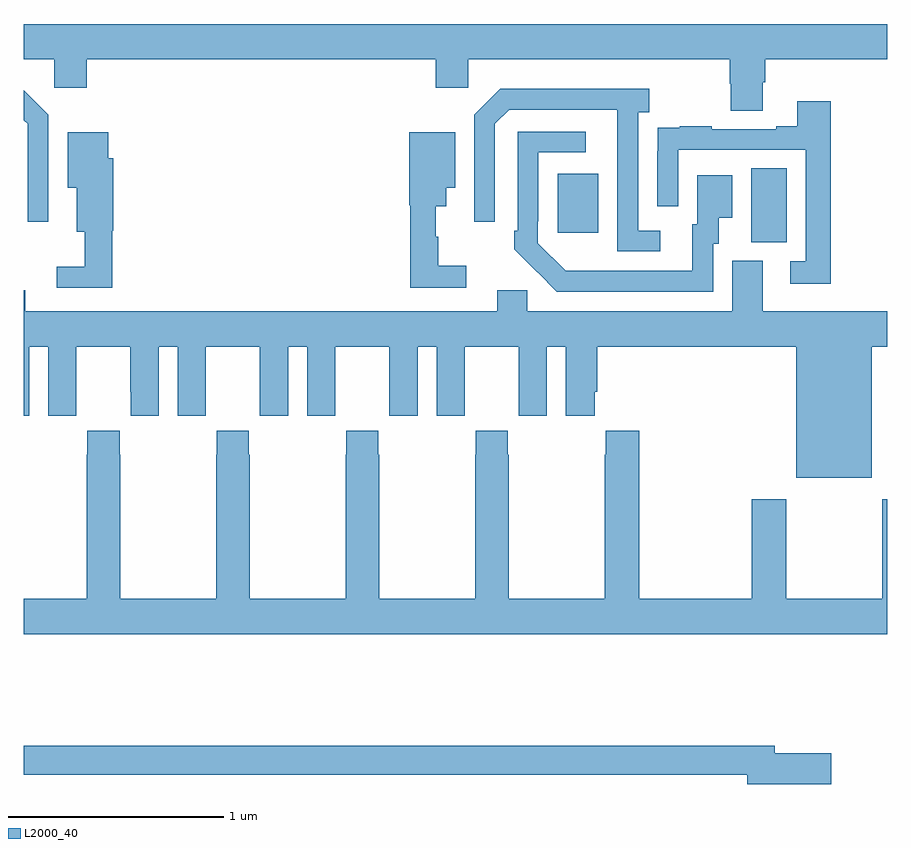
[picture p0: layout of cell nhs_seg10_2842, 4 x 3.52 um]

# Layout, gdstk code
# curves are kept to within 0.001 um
import gdstk
lib = gdstk.Library(unit=1e-6, precision=1e-09)
def R(c, l, rs):  # rectangles x0, y0, x1, y1
    for r in rs: c.add(gdstk.rectangle(r[:2], r[2:], *l))
def P(c, l, *ps):  # polygons
    for p in ps: c.add(gdstk.Polygon(p, *l))
L2000_40 = (2000, 40)

nhs_seg10_2842 = lib.new_cell('nhs_seg10_2842')
R(nhs_seg10_2842, L2000_40, [(268.37,1283.485,268.534,1283.828), (267.473,1283.529,267.661,1283.803)])
P(nhs_seg10_2842, L2000_40, [(268.423,1284.226),(268.436,1284.226),(268.436,1284.332),(269,1284.332),(269,1284.496),(265,1284.496),(265,1284.332),(265.14,1284.332),(265.14,1284.201),(265.292,1284.201),(265.292,1284.332),(266.909,1284.332),(266.909,1284.201),(267.06,1284.201),(267.06,1284.332),(268.271,1284.332),(268.271,1284.219),(268.276,1284.219),(268.276,1284.094),(268.423,1284.094)],
  [(267.949,1283.538),(267.846,1283.538),(267.846,1284.086),(267.898,1284.086),(267.898,1284.196),(267.208,1284.196),(267.087,1284.075),(267.087,1283.58),(267.183,1283.58),(267.183,1284.033),(267.249,1284.099),(267.749,1284.099),(267.75,1283.442),(267.949,1283.442)],
  [(265.113,1284.075),(265,1284.188),(265,1284.05),(265.017,1284.033),(265.017,1283.58),(265.113,1283.58)],
  [(268.739,1284.139),(268.583,1284.139),(268.583,1284.022),(268.487,1284.022),(268.487,1284.009),(268.187,1284.009),(268.187,1284.022),(268.039,1284.022),(268.039,1284.015),(267.937,1284.015),(267.937,1283.906),(267.936,1283.906),(267.936,1283.652),(268.032,1283.652),(268.032,1283.913),(268.623,1283.913),(268.623,1283.397),(268.551,1283.397),(268.551,1283.292),(268.739,1283.292)],
  [(268.194,1283.478),(268.219,1283.478),(268.219,1283.597),(268.282,1283.597),(268.282,1283.794),(268.121,1283.794),(268.121,1283.568),(268.097,1283.568),(268.097,1283.352),(267.51,1283.353),(267.381,1283.481),(267.381,1283.581),(267.384,1283.581),(267.384,1283.901),(267.604,1283.901),(267.604,1283.997),(267.288,1283.997),(267.288,1283.539),(267.273,1283.539),(267.273,1283.451),(267.47,1283.256),(268.194,1283.256)],
  [(267.049,1283.375),(266.92,1283.375),(266.92,1283.511),(266.909,1283.511),(266.909,1283.651),(266.956,1283.651),(266.956,1283.738),(266.998,1283.738),(266.998,1283.995),(266.786,1283.995),(266.786,1283.655),(266.791,1283.655),(266.791,1283.274),(267.049,1283.274)],
  [(265.409,1283.538),(265.415,1283.538),(265.415,1283.874),(265.39,1283.874),(265.39,1283.995),(265.202,1283.995),(265.202,1283.738),(265.244,1283.738),(265.244,1283.534),(265.281,1283.534),(265.281,1283.371),(265.152,1283.371),(265.152,1283.274),(265.409,1283.274)],
  [(265.006,1283.262),(265,1283.262),(265,1282.68),(265.024,1282.68),(265.024,1283),(265.112,1283),(265.112,1282.68),(265.242,1282.68),(265.242,1282.792),(265.243,1282.792),(265.243,1283),(265.493,1283),(265.493,1282.792),(265.494,1282.792),(265.494,1282.68),(265.624,1282.68),(265.624,1283),(265.712,1283),(265.712,1282.68),(265.842,1282.68),(265.842,1282.792),(265.843,1282.792),(265.843,1283),(266.093,1283),(266.093,1282.792),(266.094,1282.792),(266.094,1282.68),(266.224,1282.68),(266.224,1283),(266.312,1283),(266.312,1282.68),(266.442,1282.68),(266.442,1282.792),(266.443,1282.792),(266.443,1283),(266.693,1283),(266.693,1282.792),(266.694,1282.792),(266.694,1282.68),(266.824,1282.68),(266.824,1283),(266.912,1283),(266.912,1282.68),(267.042,1282.68),(267.042,1282.792),(267.043,1282.792),(267.043,1283),(267.293,1283),(267.293,1282.792),(267.294,1282.792),(267.294,1282.68),(267.424,1282.68),(267.424,1283),(267.512,1283),(267.512,1282.68),(267.646,1282.68),(267.646,1282.792),(267.656,1282.792),(267.656,1283),(268.58,1283),(268.58,1282.394),(268.93,1282.394),(268.93,1283),(269,1283),(269,1283.164),(268.423,1283.164),(268.423,1283.4),(268.283,1283.4),(268.283,1283.164),(267.333,1283.164),(267.333,1283.262),(267.194,1283.262),(267.194,1283.164),(265.006,1283.164)],
  [(269,1282.294),(268.978,1282.294),(268.978,1281.832),(268.533,1281.832),(268.533,1282.294),(268.373,1282.294),(268.373,1281.832),(267.851,1281.832),(267.851,1282.612),(267.697,1282.612),(267.697,1282.499),(267.691,1282.499),(267.691,1281.832),(267.246,1281.832),(267.246,1282.499),(267.243,1282.499),(267.243,1282.612),(267.093,1282.612),(267.093,1282.499),(267.091,1282.499),(267.091,1281.832),(266.646,1281.832),(266.646,1282.499),(266.643,1282.499),(266.643,1282.612),(266.493,1282.612),(266.493,1282.499),(266.491,1282.499),(266.491,1281.832),(266.046,1281.832),(266.046,1282.499),(266.043,1282.499),(266.043,1282.612),(265.893,1282.612),(265.893,1282.499),(265.891,1282.499),(265.891,1281.832),(265.446,1281.832),(265.446,1282.499),(265.443,1282.499),(265.443,1282.612),(265.293,1282.612),(265.293,1282.499),(265.291,1282.499),(265.291,1281.832),(265,1281.832),(265,1281.668),(269,1281.668)],
  [(268.741,1281.116),(268.48,1281.116),(268.48,1281.152),(265,1281.152),(265,1281.016),(268.352,1281.016),(268.352,1280.974),(268.741,1280.974)])

lib.write_gds('nhs_seg10_2842.gds')
